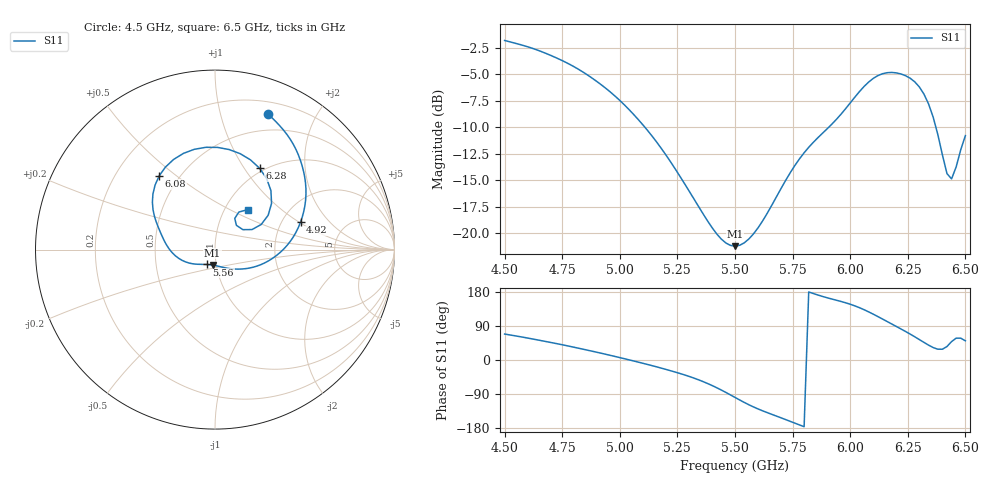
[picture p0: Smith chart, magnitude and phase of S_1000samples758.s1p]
! TOUCHSTONE file generated by CST MICROWAVE STUDIO
! Date and time: Sat Oct 29 07:01:22 2022
! Project name: L.cst
! Parameters = {Di=1.27; Epsilon_r=1.56; InnerDiameter=1.27; Length=2; Lf=10; Lg=60; OuterConductorThickness=0.2921; OuterDiameter=3.6; Wf=3; Wp=41.2; de=1.5; df=6.8; g=0.8; gx=1.81998; gy=2.3528; h=2.34; hf=1.524; px=12.5027; py=12.4495; w=9.7; wx=10.6827; wy=10.0967}
! Header version: 2018
! Port assignment regex: !\s*Touchstone port\s*([0-9]+)\s*=\s*(CST MWS port|CST DS port)\s*([0-9]+|Zmin|Zmax)\s*\(\"(.*)\"\)(\s*mode\s*([0-9]+))?.*
! Touchstone port assignment:
! Touchstone port 1 = CST MWS port 1 ("")
# GHz S DB R 50
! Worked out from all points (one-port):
!   101 points, 4.5 GHz to 6.5 GHz, reference 50 ohm
!   lowest |S11| = -21.2 dB at 5.5 GHz (marker M1), VSWR 1.19, Z = 48 - j8.32 ohm
!   |S11| at or under -10 dB: 5.109 GHz to 5.907 GHz (798.7 MHz wide, 14.5 % of centre); 6.372 GHz to end of sweep
!   S11 on the Smith chart (normalised r, x): 4.5 GHz: 0.33, +1.42; 4.92 GHz: 2.52, +1.03; 5.56 GHz: 0.90, -0.15; 6.08 GHz: 0.39, +0.44; 6.28 GHz: 0.95, +1.18; 6.5 GHz: 1.28, +0.62
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4.5  -1.84 68.5
4.64  -2.72 53.3
4.76  -3.84 39.0
4.92  -6.02 17.8
5  -7.49 6.3
5.12  -10.30 -11.7
5.26  -14.60 -35.4
5.42  -20.03 -73.0
5.5  -21.21 -98.7
5.56  -20.53 -118.0
5.62  -18.83 -134.2
5.76  -13.60 -166.7
5.92  -9.73 161.0
6  -7.72 147.2
6.08  -5.76 127.0
6.14  -4.97 108.2
6.18  -4.85 95.1
6.22  -4.99 82.0
6.26  -5.39 68.5
6.28  -5.73 61.3
6.32  -6.88 46.5
6.34  -7.81 39.3
6.38  -10.66 28.5
6.4  -12.59 28.4
6.42  -14.37 35.5
6.44  -14.87 48.6
6.46  -13.74 57.6
6.5  -10.80 50.6
